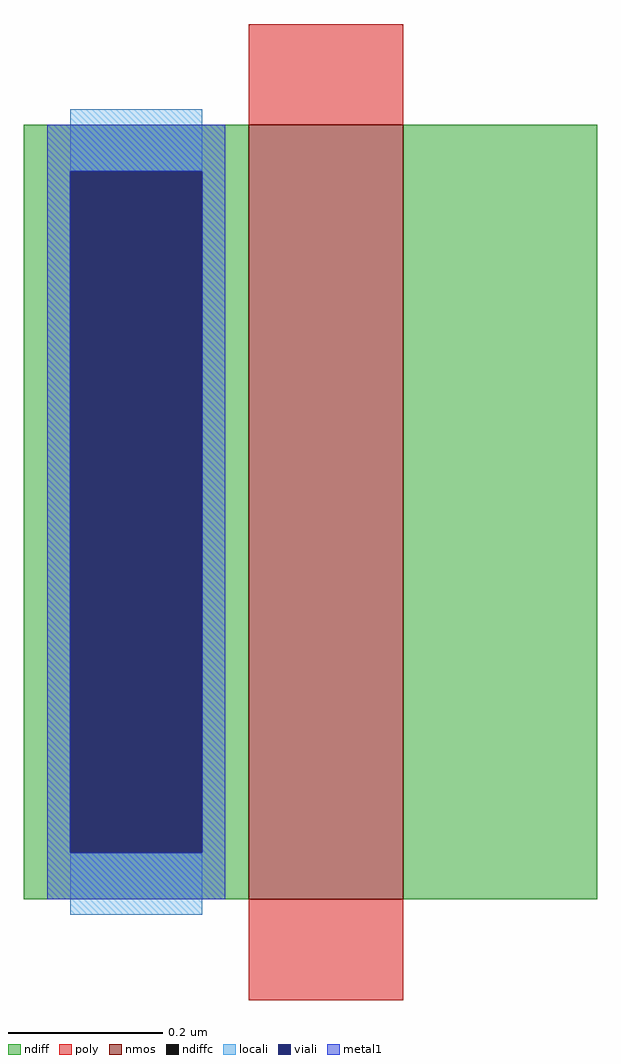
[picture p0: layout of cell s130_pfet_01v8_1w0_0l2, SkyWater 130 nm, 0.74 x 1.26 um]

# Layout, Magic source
magic
tech sky130A
<< nmos >>
rect -10 -50 10 50
<< ndiff >>
rect -39 44 -10 50
rect -39 -44 -33 44
rect -16 -44 -10 44
rect -39 -50 -10 -44
rect 10 -50 35 50
<< ndiffc >>
rect -33 -44 -16 44
<< poly >>
rect -10 50 10 63
rect -10 -63 10 -50
<< locali >>
rect -33 44 -16 52
rect -33 -52 -16 -44
<< viali >>
rect -33 -44 -16 44
<< metal1 >>
rect -36 44 -13 50
rect -36 -44 -33 44
rect -16 -44 -13 44
rect -36 -50 -13 -44
<< properties >>
string gencell sky130_fd_pr__nfet_01v8
string library sky130
string parameters w 1.0 l 0.2 m 1 nf 1 diffcov 100 polycov 100 guard 0 glc 1 grc 1 gtc 1 gbc 1 tbcov 100 rlcov 100 topc 0 botc 0 poverlap 0 doverlap 0 lmin 0.15 wmin 0.42 class mosfet compatible {sky130_fd_pr__nfet_01v8 sky130_fd_pr__nfet_01v8_lvt  sky130_fd_bs_flash__special_sonosfet_star  sky130_fd_pr__nfet_g5v0d10v5 sky130_fd_pr__nfet_05v0_nvt  sky130_fd_pr__nfet_03v3_nvt} full_metal 0 viasrc 100 viadrn 100 viagate 100 viagb 0 viagr 0 viagl 0 viagt 0
<< end >>
